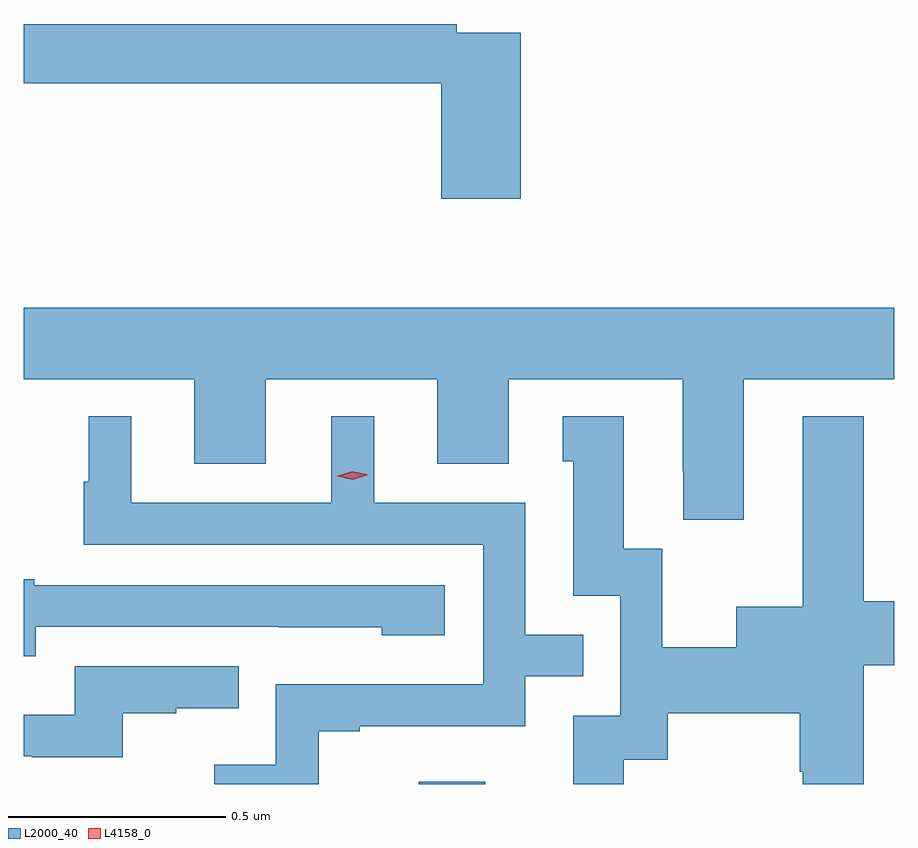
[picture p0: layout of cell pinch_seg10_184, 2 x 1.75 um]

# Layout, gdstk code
import gdstk
lib = gdstk.Library(unit=1e-6, precision=1e-09)
def R(c, l, rs):  # rectangles x0, y0, x1, y1
    for r in rs: c.add(gdstk.rectangle(r[:2], r[2:], *l))
def P(c, l, *ps):  # polygons
    for p in ps: c.add(gdstk.Polygon(p, *l))
L2000_40 = (2000, 40)
L4158_0 = (4158, 0)

pinch_seg10_184 = lib.new_cell('pinch_seg10_184')
R(pinch_seg10_184, L2000_40, [(666.335,1251.434,666.487,1251.439)])
P(pinch_seg10_184, L2000_40, [(666.569,1253.16),(666.422,1253.16),(666.422,1253.18),(665.427,1253.18),(665.427,1253.044),(666.386,1253.044),(666.386,1252.779),(666.569,1252.779)],
  [(667.081,1252.364),(667.427,1252.364),(667.427,1252.528),(665.427,1252.528),(665.427,1252.364),(665.819,1252.364),(665.819,1252.17),(665.983,1252.17),(665.983,1252.364),(666.377,1252.364),(666.377,1252.17),(666.541,1252.17),(666.541,1252.364),(666.941,1252.364),(666.941,1252.153),(666.942,1252.153),(666.942,1252.041),(667.081,1252.041)],
  [(666.105,1251.555),(666.199,1251.555),(666.199,1251.567),(666.579,1251.567),(666.579,1251.681),(666.713,1251.681),(666.713,1251.777),(666.579,1251.777),(666.579,1252.08),(666.232,1252.08),(666.232,1252.279),(666.134,1252.279),(666.134,1252.08),(665.674,1252.08),(665.674,1252.279),(665.576,1252.279),(665.576,1252.128),(665.565,1252.128),(665.565,1251.984),(666.483,1251.984),(666.483,1251.663),(666.006,1251.663),(666.006,1251.478),(665.865,1251.478),(665.865,1251.434),(666.105,1251.434)],
  [(666.805,1251.49),(666.907,1251.49),(666.907,1251.596),(667.21,1251.596),(667.21,1251.462),(667.217,1251.462),(667.217,1251.434),(667.357,1251.434),(667.357,1251.707),(667.427,1251.707),(667.427,1251.854),(667.357,1251.854),(667.357,1252.279),(667.217,1252.279),(667.217,1251.841),(667.064,1251.841),(667.064,1251.748),(666.894,1251.748),(666.894,1251.975),(666.805,1251.975),(666.805,1252.279),(666.665,1252.279),(666.665,1252.176),(666.689,1252.176),(666.689,1251.867),(666.798,1251.867),(666.798,1251.591),(666.689,1251.591),(666.689,1251.434),(666.805,1251.434)],
  [(665.455,1251.795),(666.013,1251.795),(666.013,1251.794),(666.249,1251.794),(666.249,1251.776),(666.394,1251.776),(666.394,1251.891),(665.451,1251.891),(665.451,1251.904),(665.427,1251.904),(665.427,1251.728),(665.455,1251.728)],
  [(665.654,1251.597),(665.777,1251.597),(665.777,1251.608),(665.921,1251.608),(665.921,1251.705),(665.544,1251.705),(665.544,1251.593),(665.427,1251.593),(665.427,1251.498),(665.446,1251.498),(665.446,1251.495),(665.654,1251.495)])
P(pinch_seg10_184, L4158_0, [(666.183,1252.133),(666.148,1252.141),(666.147,1252.142),(666.148,1252.142),(666.183,1252.153),(666.218,1252.144),(666.219,1252.144),(666.218,1252.144)])

lib.write_gds('pinch_seg10_184.gds')
